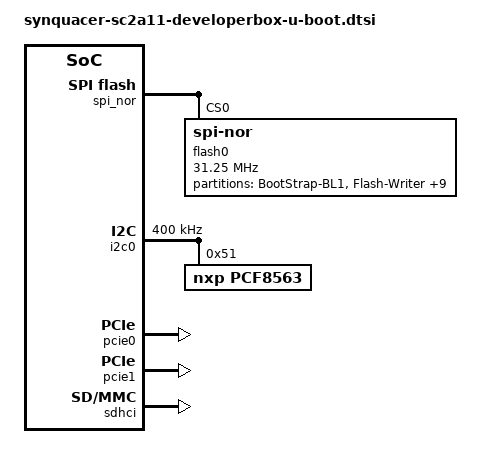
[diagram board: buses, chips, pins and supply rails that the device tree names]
// SPDX-License-Identifier: BSD-2-Clause-Patent
//
// Copyright (c) 2021, Linaro Limited. All rights reserved.
//

/ {
	aliases {
		spi_nor = &spi_nor;
		i2c0 = &i2c0;
	};

	spi_nor: spi@54800000 {
		compatible = "socionext,synquacer-spi";
		reg = <0x00 0x54800000 0x00 0x1000>;
		interrupts = <0x00 0x9c 0x04 0x00 0x9d 0x04 0x00 0x9e 0x04>;
		clocks = <&clk_alw_1_8>;
		clock-names = "iHCLK";
		socionext,use-rtm;
		socionext,set-aces;
		#address-cells = <1>;
		#size-cells = <0>;
		status = "okay";

		flash0: flash@0 {
			#address-cells = <1>;
			#size-cells = <1>;
			compatible = "jedec,spi-nor";
			reg = <0>; /* Chip select 0 */
			spi-max-frequency = <31250000>;
			spi-rx-bus-width = <0x1>;
			spi-tx-bus-width = <0x1>;

			partitions {
				compatible = "fixed-partitions";
				#address-cells = <1>;
				#size-cells = <1>;

				partition@0 {
					label = "BootStrap-BL1";
					reg = <0x0 0x70000>;
					read-only;
				};

				partition@70000 {
					label = "Flash-Writer";
					reg = <0x70000 0x90000>;
					read-only;
				};

				partition@100000 {
					label = "SCP-BL2";
					reg = <0x100000 0x80000>;
					read-only;
				};

				partition@180000 {
					label = "FIP-TFA";
					reg = <0x180000 0x78000>;
				};

				partition@1f8000 {
					label = "Stage2Tables";
					reg = <0x1f8000 0x8000>;
				};

				partition@200000 {
					label = "U-Boot";
					reg = <0x200000 0x100000>;
				};

				partition@300000 {
					label = "UBoot-Env";
					reg = <0x300000 0x100000>;
				};

				partition@500000 {
					label = "MDATA-Pri";
					reg = <0x500000 0x1000>;
				};

				partition@530000 {
					label = "MDATA-Sec";
					reg = <0x530000 0x1000>;
				};

				/* FWU Multi bank update partitions */
				partition@600000 {
					label = "FIP-Bank0";
					reg = <0x600000 0x400000>;
				};

				partition@a00000 {
					label = "FIP-Bank1";
					reg = <0xa00000 0x400000>;
				};
			};
		};
	};

	i2c0: i2c@51200000 {
		compatible = "socionext,synquacer-i2c";
		reg = <0x0 0x51200000 0x0 0x1000>;
		interrupts = <GIC_SPI 164 IRQ_TYPE_LEVEL_HIGH>;
		clocks = <&clk_i2c>;
		clock-names = "pclk";
		clock-frequency = <400000>;
		#address-cells = <1>;
		#size-cells = <0>;
		status = "okay";

		pcf8563: rtc@51 {
			compatible = "nxp,pcf8563";
			reg = <0x51>;
		};
	};

	firmware {
		optee {
			status = "okay";
		};

		fwu-mdata {
			compatible = "u-boot,fwu-mdata-mtd";
			fwu-mdata-store = <&flash0>;
			mdata-parts = "MDATA-Pri", "MDATA-Sec";

			fwu-bank0 {
				id = <0>;
				label = "FIP-Bank0";
				fwu-image0 {
					id = <0>;
					offset = <0x0>;
					size = <0x400000>;
					uuid = "5a66a702-99fd-4fef-a392-c26e261a2828";
				};
			};
			fwu-bank1 {
				id = <1>;
				label = "FIP-Bank1";
				fwu-image0 {
					id = <0>;
					offset = <0x0>;
					size = <0x400000>;
					uuid = "a8f868a1-6e5c-4757-878d-ce63375ef2c0";
				};
			};
		};
	};
};

&smmu {
	status = "okay";
};

&pcie0 {
	status = "okay";
};

&pcie1 {
	status = "okay";
};

&sdhci {
	status = "okay";
};
